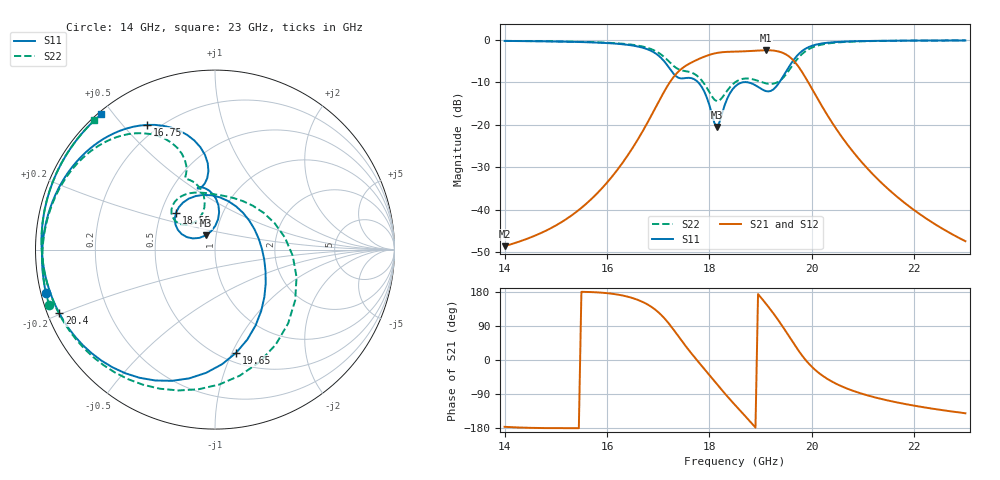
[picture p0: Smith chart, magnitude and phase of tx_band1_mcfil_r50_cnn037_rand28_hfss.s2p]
! Touchstone file exported from HFSS 3D Layout Design 2026.1.0
!  File:  D:/Work/SIM/ADS_AUTO_SIM/projects/RFSOC_RF/TX_Fillter.aedt
!  Generated:  05:04:00 AM Aug 31, 2026
!  Design:  TX_BAND1_MCFIL_R50_CNN037
!  Project:  TX_Fillter
# GHz S MA R 50.000000
! Terminal data exported
! Port[1] = Port1
! Port[2] = Port2
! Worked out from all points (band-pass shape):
!   181 points, 14 GHz to 23 GHz, reference 50 ohm
!   highest |S21| = -2.42 dB at 19.1 GHz (marker M1); lowest = -48.5 dB at 14 GHz (marker M2)
!   |S21| within 3 dB of the highest: 17.63 GHz to 19.68 GHz (2.05 GHz wide, 11 % of centre)
!   lowest |S11| = -20.5 dB at 18.15 GHz (marker M3), VSWR 1.21, Z = 44.5 + j7.06 ohm
!   |S11| at or under -10 dB: 17.78 GHz to 18.64 GHz (863.5 MHz wide, 4.74 % of centre); 18.76 GHz to 19.36 GHz (606.1 MHz wide, 3.18 % of centre)
!   |S22| runs from -14.4 to -0.1 dB; largest |S21 - S12| = 5e-15
!   S11 on the Smith chart (normalised r, x): 14 GHz: 0.01, -0.13; 16.75 GHz: 0.16, +0.58; 18.55 GHz: 0.60, +0.27; 19.65 GHz: 0.59, -1.04; 20.4 GHz: 0.03, -0.20; 23 GHz: 0.01, +0.47
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14  0.9725 -165.6  0.003745 -176.4  0.003745 -176.4  0.9741 -161.5
15.5  0.9436 163.3  0.01057 179.9  0.01057 179.9  0.9485 169.1
16.2  0.9006 142.8  0.0295 172.9  0.0295 172.9  0.9118 150.3
16.75  0.7914 118.6  0.09601 149.6  0.09601 149.6  0.8203 129.2
17  0.6579 103.7  0.1829 126.3  0.1829 126.3  0.7096 116.7
17.25  0.4382 94.8  0.3328 89.0  0.3328 89.0  0.5278 108.6
17.5  0.3535 105.7  0.479 43.2  0.479 43.2  0.4324 112.6
17.85  0.28 88.5  0.6171 -15.5  0.6171 -15.5  0.3338 102.7
18.15  0.0946 123.7  0.7028 -64.4  0.7028 -64.4  0.1898 124.1
18.3  0.1718 156.1  0.7207 -88.3  0.7207 -88.3  0.2306 142.9
18.5  0.2824 142.4  0.728 -118.7  0.728 -118.7  0.3163 140.1
18.55  0.2988 136.7  0.7292 -126.1  0.7292 -126.1  0.3307 137.1
18.85  0.303 93.6  0.7446 -170.6  0.7446 -170.6  0.3437 113.8
19.1  0.2502 40.3  0.7565 149.3  0.7565 149.3  0.3084 90.6
19.4  0.3404 -33.9  0.7162 94.4  0.7162 94.4  0.3397 37.2
19.65  0.587 -78.5  0.5654 42.8  0.5654 42.8  0.5287 -32.3
19.85  0.7696 -108.2  0.3836 4.9  0.3836 4.9  0.7159 -78.9
20  0.8513 -126.0  0.2684 -17.7  0.2684 -17.7  0.8108 -104.5
20.4  0.9371 -157.7  0.1056 -57.4  0.1056 -57.4  0.9207 -146.5
20.85  0.9644 -179.1  0.04476 -83.4  0.04476 -83.4  0.9579 -172.2
21.5  0.9778 160.6  0.01742 -107.2  0.01742 -107.2  0.9758 165.1
23  0.9851 130.1  0.004285 -140.6  0.004285 -140.6  0.985 133.0
